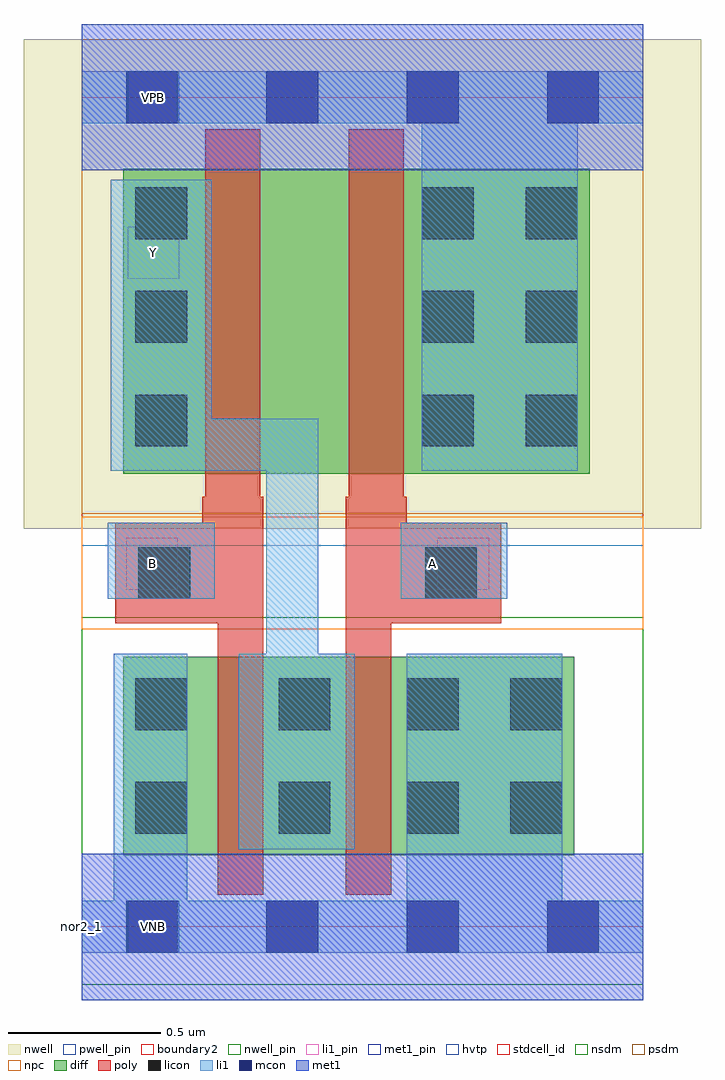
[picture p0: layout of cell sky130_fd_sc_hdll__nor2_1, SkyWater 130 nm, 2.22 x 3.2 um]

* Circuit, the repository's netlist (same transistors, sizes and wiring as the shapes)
* Copyright 2020 The SkyWater PDK Authors
*
* Licensed under the Apache License, Version 2.0 (the "License");
* you may not use this file except in compliance with the License.
* You may obtain a copy of the License at
*
*     https://www.apache.org/licenses/LICENSE-2.0
*
* Unless required by applicable law or agreed to in writing, software
* distributed under the License is distributed on an "AS IS" BASIS,
* WITHOUT WARRANTIES OR CONDITIONS OF ANY KIND, either express or implied.
* See the License for the specific language governing permissions and
* limitations under the License.
*
* SPDX-License-Identifier: Apache-2.0

.SUBCKT sky130_fd_sc_hdll__nor2_1 A B VGND VNB VPB VPWR Y
*.PININFO A:I B:I VGND:I VNB:I VPB:I VPWR:I Y:O
MMP0 VPWR A sndPA VPB sky130_fd_pr__pfet_01v8_hvt m=1 w=1.0U l=0.18U mult=1 sa=0.265
+ sb=0.265 sd=0.28 area=0.063 perim=1.14
MMP1 sndPA B Y VPB sky130_fd_pr__pfet_01v8_hvt m=1 w=1.0U l=0.18U mult=1 sa=0.265
+ sb=0.265 sd=0.28 area=0.063 perim=1.14
MMN0 Y A VGND VNB sky130_fd_pr__nfet_01v8 m=1 w=0.65U l=0.15U mult=1 sa=0.265 sb=0.265
+ sd=0.28 area=0.063 perim=1.14
MMN1 Y B VGND VNB sky130_fd_pr__nfet_01v8 m=1 w=0.65U l=0.15U mult=1 sa=0.265 sb=0.265
+ sd=0.28 area=0.063 perim=1.14
.ENDS sky130_fd_sc_hdll__nor2_1

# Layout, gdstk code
import gdstk
lib = gdstk.Library(unit=1e-6, precision=1e-09)
def R(c, l, rs):  # rectangles x0, y0, x1, y1
    for r in rs: c.add(gdstk.rectangle(r[:2], r[2:], *l))
def A(c, l, x, y, w, h, nx, ny, dx, dy):  # array of equal rectangles
    R(c, l, [(x+i*dx, y+j*dy, x+i*dx+w, y+j*dy+h) for i in range(nx) for j in range(ny)])
def P(c, l, *ps):  # polygons
    for p in ps: c.add(gdstk.Polygon(p, *l))
nwell_pin = (64, 16)
nwell = (64, 20)
diff = (65, 20)
poly = (66, 20)
licon = (66, 44)
li1_pin = (67, 16)
li1 = (67, 20)
mcon = (67, 44)
met1_pin = (68, 16)
met1 = (68, 20)
hvtp = (78, 44)
stdcell_id = (81, 4)
nsdm = (93, 44)
psdm = (94, 20)
npc = (95, 20)
pwell_pin = (122, 16)
boundary2 = (236, 0)

sky130_fd_sc_hdll__nor2_ = lib.new_cell('sky130_fd_sc_hdll__nor2_1')
R(sky130_fd_sc_hdll__nor2_, nwell_pin, [(0.15,2.635,0.32,2.805)])
R(sky130_fd_sc_hdll__nor2_, nwell, [(-0.19,1.305,2.03,2.91)])
R(sky130_fd_sc_hdll__nor2_, diff, [(0.135,0.235,1.615,0.885), (0.135,1.485,1.665,2.485)])
P(sky130_fd_sc_hdll__nor2_, poly, [(0.595,1.41),(0.585,1.41),(0.585,2.615),(0.405,2.615),(0.405,1.41),(0.395,1.41),(0.395,1.325),(0.11,1.325),(0.11,0.995),(0.445,0.995),(0.445,0.105),(0.595,0.105)],
  [(1.375,1.325),(1.065,1.325),(1.065,1.41),(1.055,1.41),(1.055,2.615),(0.875,2.615),(0.875,1.41),(0.865,1.41),(0.865,0.105),(1.015,0.105),(1.015,0.995),(1.375,0.995)])
A(sky130_fd_sc_hdll__nor2_, licon, 0.175, 1.575, 0.17, 0.17, 1, 3, 0, 0.34)
A(sky130_fd_sc_hdll__nor2_, licon, 1.115, 1.575, 0.17, 0.17, 1, 3, 0, 0.34)
A(sky130_fd_sc_hdll__nor2_, licon, 1.455, 1.575, 0.17, 0.17, 1, 3, 0, 0.34)
R(sky130_fd_sc_hdll__nor2_, licon, [(0.175,0.305,0.345,0.475), (0.645,0.305,0.815,0.475), (1.065,0.305,1.235,0.475), (1.405,0.305,1.575,0.475), (0.175,0.645,0.345,0.815), (0.645,0.645,0.815,0.815), (1.065,0.645,1.235,0.815), (1.405,0.645,1.575,0.815), (0.185,1.075,0.355,1.245), (1.125,1.075,1.295,1.245)])
R(sky130_fd_sc_hdll__nor2_, li1_pin, [(0.145,1.105,0.315,1.275), (1.165,1.105,1.335,1.275), (0.15,2.125,0.32,2.295)])
R(sky130_fd_sc_hdll__nor2_, li1, [(0.085,1.075,0.435,1.325), (1.045,1.075,1.395,1.325)])
P(sky130_fd_sc_hdll__nor2_, li1, [(1.84,0.085),(1.575,0.085),(1.575,0.895),(1.065,0.895),(1.065,0.085),(0.345,0.085),(0.345,0.895),(0.105,0.895),(0.105,0.085),(0,0.085),(0,-0.085),(1.84,-0.085)],
  [(1.84,2.805),(0,2.805),(0,2.635),(1.115,2.635),(1.115,1.495),(1.625,1.495),(1.625,2.635),(1.84,2.635)],
  [(0.895,0.895),(0.775,0.895),(0.775,1.665),(0.425,1.665),(0.425,2.45),(0.095,2.45),(0.095,1.495),(0.605,1.495),(0.605,0.895),(0.515,0.895),(0.515,0.255),(0.895,0.255)])
A(sky130_fd_sc_hdll__nor2_, mcon, 0.145, -0.085, 0.17, 0.17, 4, 2, 0.46, 2.72)
R(sky130_fd_sc_hdll__nor2_, met1_pin, [(0.15,-0.085,0.32,0.085), (0.15,2.635,0.32,2.805)])
R(sky130_fd_sc_hdll__nor2_, met1, [(0,-0.24,1.84,0.24), (0,2.48,1.84,2.96)])
R(sky130_fd_sc_hdll__nor2_, hvtp, [(0,1.25,1.84,2.72)])
R(sky130_fd_sc_hdll__nor2_, stdcell_id, [(0,0,1.84,2.72)])
R(sky130_fd_sc_hdll__nor2_, nsdm, [(0,-0.19,1.84,1.015)])
R(sky130_fd_sc_hdll__nor2_, psdm, [(0,1.355,1.84,2.91)])
R(sky130_fd_sc_hdll__nor2_, npc, [(0,0.975,1.84,1.345)])
R(sky130_fd_sc_hdll__nor2_, pwell_pin, [(0.15,-0.085,0.32,0.085)])
R(sky130_fd_sc_hdll__nor2_, boundary2, [(0,0,1.84,2.72)])
sky130_fd_sc_hdll__nor2_.add(gdstk.Label('B', (0.23,1.19), layer=67, texttype=5))
sky130_fd_sc_hdll__nor2_.add(gdstk.Label('Y', (0.235,2.21), layer=67, texttype=5))
sky130_fd_sc_hdll__nor2_.add(gdstk.Label('A', (1.15,1.19), layer=67, texttype=5))
sky130_fd_sc_hdll__nor2_.add(gdstk.Label('VPB', (0.235,2.72), layer=64, texttype=5))
sky130_fd_sc_hdll__nor2_.add(gdstk.Label('VNB', (0.235,0), layer=64, texttype=59))
sky130_fd_sc_hdll__nor2_.add(gdstk.Label('VGND', (0.23,0), layer=68, texttype=5))
sky130_fd_sc_hdll__nor2_.add(gdstk.Label('VPWR', (0.23,2.72), layer=68, texttype=5))
sky130_fd_sc_hdll__nor2_.add(gdstk.Label('nor2_1', (0,0), layer=83, texttype=44))

lib.write_gds('sky130_fd_sc_hdll__nor2_1.gds')
